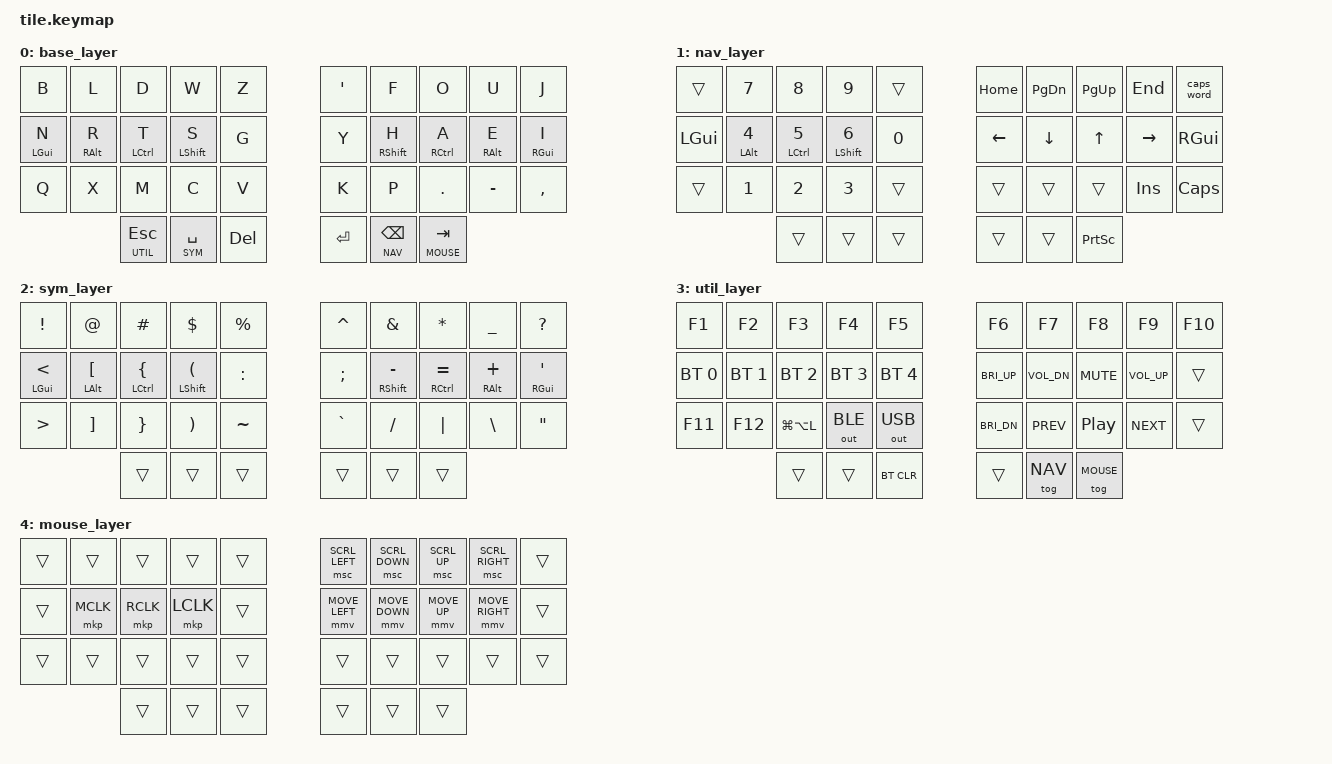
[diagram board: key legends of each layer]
#include <behaviors.dtsi>
#include <dt-bindings/zmk/keys.h>
#include <dt-bindings/zmk/bt.h>
#include <dt-bindings/zmk/outputs.h>

#define ZMK_POINTING_DEFAULT_MOVE_VAL 1300  
#define ZMK_POINTING_DEFAULT_SCRL_VAL 20
#include <dt-bindings/zmk/pointing.h>

#define BASE  0
#define NAV   1
#define SYM   2
#define UTIL  3
#define MOUSE 4

/ {
    behaviors {
        hm: homerow_mods {
            compatible = "zmk,behavior-hold-tap";
            label = "HOMEROW_MODS";
            #binding-cells = <2>;
            tapping-term-ms = <280>; 
            quick-tap-ms = <175>;
            require-prior-idle-ms = <150>;
            flavor = "balanced";
            bindings = <&kp>, <&kp>;
        };
    };

    keymap {
        compatible = "zmk,keymap";

        // =================================================================================================================================
        // BASE LAYER
        // =================================================================================================================================
        base_layer {
            bindings = <
            &kp B       &kp L       &kp D         &kp W          &kp Z       &kp SQT  &kp F         &kp O        &kp U       &kp J
            &hm LGUI N  &hm RALT R  &hm LCTRL T   &hm LSHFT S    &kp G       &kp Y    &hm RSHFT H   &hm RCTRL A  &hm RALT E  &hm RGUI I
            &kp Q       &kp X       &kp M         &kp C          &kp V       &kp K    &kp P         &kp DOT      &kp MINUS   &kp COMMA
                                    &lt UTIL ESC  &lt SYM SPACE  &kp DEL     &kp RET  &lt NAV BSPC  &lt MOUSE TAB
            >;
        };

        // =================================================================================================================================
        // NAV LAYER
        // =================================================================================================================================
        nav_layer {
            bindings = <
            &trans    &kp N7       &kp N8        &kp N9        &trans     &kp HOME  &kp PG_DN  &kp PG_UP  &kp END    &caps_word
            &kp LGUI  &hm LALT N4  &hm LCTRL N5  &hm LSHFT N6  &kp N0     &kp LEFT  &kp DOWN   &kp UP     &kp RIGHT  &kp RGUI
            &trans    &kp N1       &kp N2        &kp N3        &trans     &trans    &trans     &trans     &kp INS    &kp CAPS 
                                   &trans        &trans        &trans     &trans    &trans     &kp PSCRN
            >;
        };

        // =================================================================================================================================
        // SYM LAYER
        // =================================================================================================================================
        sym_layer {
            bindings = <
            &kp EXCL            &kp AT         &kp HASH        &kp DLLR        &kp PRCNT     &kp CARET  &kp AMPS         &kp STAR         &kp UNDER      &kp QMARK
            &hm LGUI LESS_THAN  &hm LALT LBKT  &hm LCTRL LBRC  &hm LSHFT LPAR  &kp COLON     &kp SEMI   &hm RSHFT MINUS  &hm RCTRL EQUAL  &hm RALT PLUS  &hm RGUI SQT
            &kp GREATER_THAN    &kp RBKT       &kp RBRC        &kp RPAR        &kp TILDE     &kp GRAVE  &kp FSLH         &kp PIPE         &kp BSLH       &kp DQT
                                               &trans          &trans          &trans        &trans     &trans           &trans
            >;
        };

        // =================================================================================================================================
        // UTIL LAYER 
        // =================================================================================================================================
        util_layer {
            bindings = <
            &kp F1        &kp F2        &kp F3         &kp F4        &kp F5           &kp F6        &kp F7        &kp F8      &kp F9        &kp F10
            &bt BT_SEL 0  &bt BT_SEL 1  &bt BT_SEL 2   &bt BT_SEL 3  &bt BT_SEL 4     &kp C_BRI_UP  &kp C_VOL_DN  &kp K_MUTE  &kp C_VOL_UP  &trans
            &kp F11       &kp F12       &kp LG(LA(L))  &out OUT_BLE  &out OUT_USB     &kp C_BRI_DN  &kp C_PREV    &kp C_PP    &kp C_NEXT    &trans
                                        &trans         &trans        &bt BT_CLR       &trans        &tog NAV      &tog MOUSE
            >;
        };

        // =================================================================================================================================
        // MOUSE LAYER
        // =================================================================================================================================
        mouse_layer {
            bindings = <
            &trans  &trans     &trans      &trans     &trans     &msc SCRL_LEFT  &msc SCRL_DOWN  &msc SCRL_UP  &msc SCRL_RIGHT  &trans 
            &trans  &mkp MCLK  &mkp RCLK   &mkp LCLK  &trans     &mmv MOVE_LEFT  &mmv MOVE_DOWN  &mmv MOVE_UP  &mmv MOVE_RIGHT  &trans
            &trans  &trans     &trans      &trans     &trans     &trans          &trans          &trans        &trans           &trans
                               &trans      &trans     &trans     &trans          &trans          &trans
            >;
        };
    };
};
